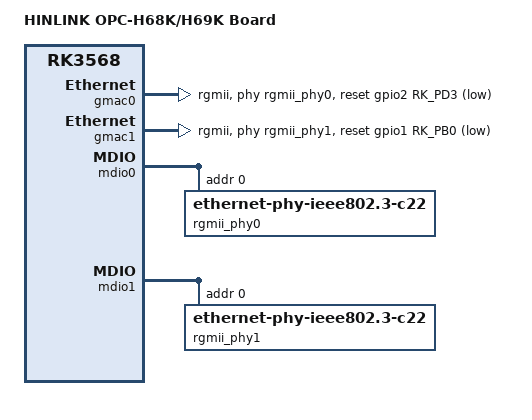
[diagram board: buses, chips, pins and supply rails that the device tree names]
// SPDX-License-Identifier: (GPL-2.0+ OR MIT)
/*
 * Copyright (c) 2020 Rockchip Electronics Co., Ltd.
 */

/dts-v1/;

#include "rk3568-hinlink.dtsi"

/ {
	model = "HINLINK OPC-H68K/H69K Board";
	compatible = "hinlink,opc-h68k", "rockchip,rk3568";

	aliases {
		ethernet0 = &gmac0;
		ethernet1 = &gmac1;
	};
};

&gmac0 {
	phy-mode = "rgmii";
	clock_in_out = "output";

	snps,reset-gpio = <&gpio2 RK_PD3 GPIO_ACTIVE_LOW>;
	snps,reset-active-low;
	/* Reset time is 15ms, 50ms for rtl8211f */
	snps,reset-delays-us = <0 15000 50000>;

	assigned-clocks = <&cru SCLK_GMAC0_RX_TX>, <&cru SCLK_GMAC0>;
	assigned-clock-parents = <&cru SCLK_GMAC0_RGMII_SPEED>, <&cru CLK_MAC0_2TOP>;
	assigned-clock-rates = <0>, <125000000>;
	phy-handle = <&rgmii_phy0>;
	pinctrl-names = "default";
	pinctrl-0 = <&gmac0_miim
		     &gmac0_tx_bus2
		     &gmac0_rx_bus2
		     &gmac0_rgmii_clk
		     &gmac0_rgmii_bus>;

	tx_delay = <0x20>;
	rx_delay = <0x2f>;

	status = "okay";
};

&gmac1 {
	phy-mode = "rgmii";
	clock_in_out = "output";

	snps,reset-gpio = <&gpio1 RK_PB0 GPIO_ACTIVE_LOW>;
	snps,reset-active-low;
	/* Reset time is 15ms, 50ms for rtl8211f */
	snps,reset-delays-us = <0 15000 50000>;

	assigned-clocks = <&cru SCLK_GMAC1_RX_TX>, <&cru SCLK_GMAC1>;
	assigned-clock-parents = <&cru SCLK_GMAC1_RGMII_SPEED>, <&cru CLK_MAC1_2TOP>;
	assigned-clock-rates = <0>, <125000000>;
	phy-handle = <&rgmii_phy1>;
	pinctrl-names = "default";
	pinctrl-0 = <&gmac1m1_miim
		     &gmac1m1_tx_bus2
		     &gmac1m1_rx_bus2
		     &gmac1m1_rgmii_clk
		     &gmac1m1_rgmii_bus>;

	tx_delay = <0x4f>;
	rx_delay = <0x26>;

	status = "okay";
};

&mdio0 {
	rgmii_phy0: ethernet-phy@1 {
		compatible = "ethernet-phy-ieee802.3-c22";
		reg = <0x0>;
		pinctrl-0 = <&eth_phy0_reset_pin>;
		pinctrl-names = "default";
	};
};

&mdio1 {
	rgmii_phy1: ethernet-phy@1 {
		compatible = "ethernet-phy-ieee802.3-c22";
		reg = <0x0>;
		pinctrl-0 = <&eth_phy1_reset_pin>;
		pinctrl-names = "default";
	};
};

&pinctrl {
	gmac0 {
		eth_phy0_reset_pin: eth-phy0-reset-pin {
			rockchip,pins = <2 RK_PD3 RK_FUNC_GPIO &pcfg_pull_up>;
		};
	};

	gmac1 {
		eth_phy1_reset_pin: eth-phy1-reset-pin {
			rockchip,pins = <1 RK_PB0 RK_FUNC_GPIO &pcfg_pull_up>;
		};
	};
};
